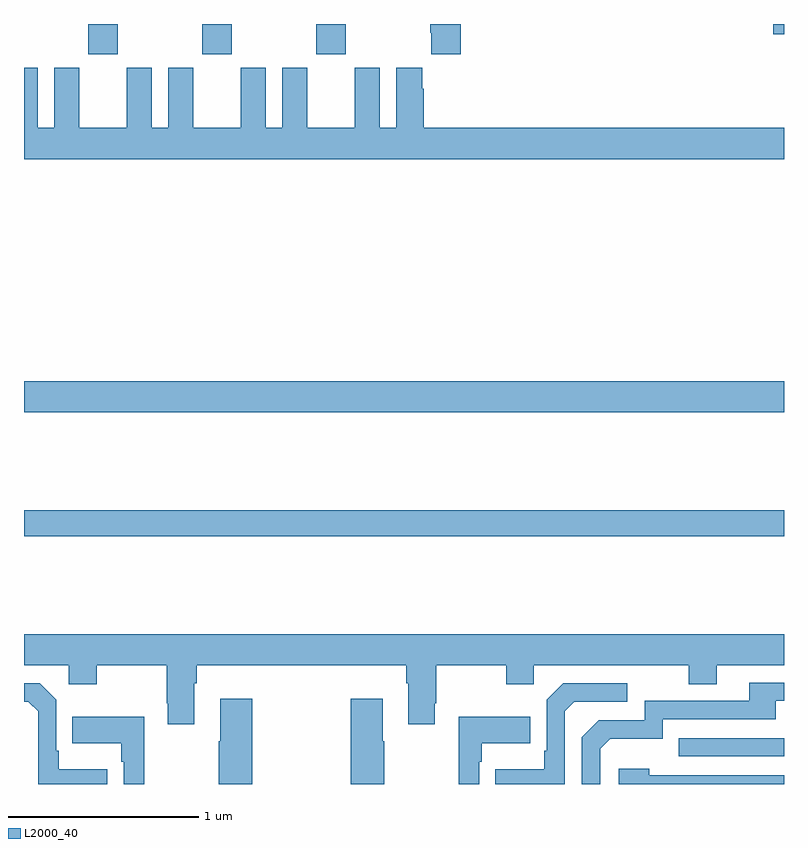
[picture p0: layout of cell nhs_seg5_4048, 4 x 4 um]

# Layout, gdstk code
import gdstk
lib = gdstk.Library(unit=1e-6, precision=1e-09)
def R(c, l, rs):  # rectangles x0, y0, x1, y1
    for r in rs: c.add(gdstk.rectangle(r[:2], r[2:], *l))
def A(c, l, x, y, w, h, nx, ny, dx, dy):  # array of equal rectangles
    R(c, l, [(x+i*dx, y+j*dy, x+i*dx+w, y+j*dy+h) for i in range(nx) for j in range(ny)])
def P(c, l, *ps):  # polygons
    for p in ps: c.add(gdstk.Polygon(p, *l))
L2000_40 = (2000, 40)

nhs_seg5_4048 = lib.new_cell('nhs_seg5_4048')
A(nhs_seg5_4048, L2000_40, 349.339, 862.641, 0.155, 0.158, 3, 1, 0.6, 0)
R(nhs_seg5_4048, L2000_40, [(352.447,858.945,353,859.041), (349,860.104,353,860.24), (349,860.756,353,860.92), (352.944,862.745,353,862.799)])
P(nhs_seg5_4048, L2000_40, [(351.299,862.799),(351.139,862.799),(351.139,862.753),(351.143,862.753),(351.143,862.641),(351.299,862.641)],
  [(353,862.252),(351.104,862.252),(351.104,862.457),(351.097,862.457),(351.097,862.57),(350.96,862.57),(350.96,862.252),(350.872,862.252),(350.872,862.57),(350.741,862.57),(350.741,862.252),(350.491,862.252),(350.491,862.57),(350.36,862.57),(350.36,862.252),(350.272,862.252),(350.272,862.57),(350.141,862.57),(350.141,862.252),(349.891,862.252),(349.891,862.57),(349.76,862.57),(349.76,862.252),(349.672,862.252),(349.672,862.57),(349.541,862.57),(349.541,862.252),(349.291,862.252),(349.291,862.57),(349.16,862.57),(349.16,862.252),(349.072,862.252),(349.072,862.57),(349,862.57),(349,862.088),(353,862.088)],
  [(349,859.424),(349.236,859.424),(349.236,859.325),(349.383,859.325),(349.383,859.424),(349.75,859.424),(349.75,859.225),(349.757,859.225),(349.757,859.113),(349.897,859.113),(349.897,859.328),(349.91,859.328),(349.91,859.424),(351.011,859.424),(351.011,859.328),(351.023,859.328),(351.023,859.113),(351.163,859.113),(351.163,859.225),(351.171,859.225),(351.171,859.424),(351.538,859.424),(351.538,859.325),(351.684,859.325),(351.684,859.424),(352.498,859.424),(352.498,859.325),(352.645,859.325),(352.645,859.424),(353,859.424),(353,859.588),(349,859.588)],
  [(352.032,858.984),(352.085,859.037),(352.362,859.037),(352.362,859.14),(352.957,859.14),(352.957,859.236),(353,859.236),(353,859.332),(352.817,859.332),(352.817,859.236),(352.266,859.236),(352.266,859.134),(352.026,859.134),(351.936,859.044),(351.936,858.799),(352.032,858.799)],
  [(351.846,859.182),(351.897,859.233),(352.174,859.233),(352.174,859.329),(351.837,859.329),(351.75,859.242),(351.75,858.973),(351.738,858.973),(351.738,858.877),(351.481,858.877),(351.481,858.799),(351.846,858.799)],
  [(349.439,858.877),(349.183,858.877),(349.183,858.973),(349.17,858.973),(349.17,859.242),(349.083,859.329),(349,859.329),(349,859.233),(349.023,859.233),(349.074,859.182),(349.074,858.799),(349.439,858.799)],
  [(350.201,859.249),(350.033,859.249),(350.033,859.025),(350.026,859.025),(350.026,858.799),(350.201,858.799)],
  [(350.895,859.025),(350.887,859.025),(350.887,859.249),(350.72,859.249),(350.72,858.799),(350.895,858.799)],
  [(351.396,858.917),(351.409,858.917),(351.409,859.013),(351.665,859.013),(351.665,859.153),(351.288,859.153),(351.288,858.799),(351.396,858.799)],
  [(349.633,859.153),(349.255,859.153),(349.255,859.013),(349.512,859.013),(349.512,858.917),(349.524,858.917),(349.524,858.799),(349.633,858.799)],
  [(353,858.846),(352.292,858.846),(352.292,858.88),(352.131,858.88),(352.131,858.799),(353,858.799)])

lib.write_gds('nhs_seg5_4048.gds')
